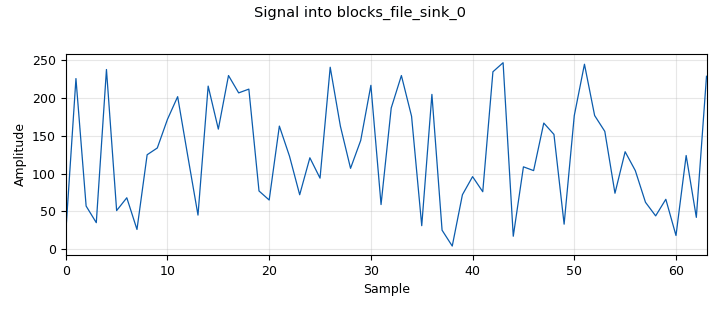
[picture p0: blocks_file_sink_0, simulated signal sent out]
<?xml version='1.0' encoding='utf-8'?>
<?grc format='1' created='3.7.11'?>
<flow_graph>
<block>
<key>options</key>
<param><key>id</key><value>top_block</value></param>
<param><key>generate_options</key><value>qt_gui</value></param>
</block>
<block>
<key>variable_constellation_rect</key>
<param><key>id</key><value>qpsk</value></param>
<param><key>const_points</key><value>[0.707+0.707j, -0.707+0.707j, -0.707-0.707j, 0.707-0.707j]</value></param>
<param><key>_enabled</key><value>0</value></param>
<param><key>imag_sect</key><value>2</value></param>
<param><key>real_sect</key><value>2</value></param>
<param><key>rot_sym</key><value>4</value></param>
<param><key>sym_map</key><value>[0, 1,2,3]</value></param>
<param><key>w_imag_sect</key><value>1</value></param>
<param><key>w_real_sect</key><value>1</value></param>
</block>
<block>
<key>variable</key>
<param><key>id</key><value>samp_rate</value></param>
<param><key>value</key><value>32000</value></param>
</block>
<block>
<key>analog_random_source_x</key>
<param><key>id</key><value>analog_random_source_x_0</value></param>
<param><key>max</key><value>256</value></param>
<param><key>min</key><value>0</value></param>
<param><key>num_samps</key><value>225</value></param>
<param><key>type</key><value>byte</value></param>
<param><key>repeat</key><value>False</value></param>
</block>
<block>
<key>blocks_file_sink</key>
<param><key>id</key><value>blocks_file_sink_0</value></param>
<param><key>file</key><value>/home/xongile/Lab-Project/TestSinks/TestData.dat</value></param>
<param><key>type</key><value>byte</value></param>
</block>
<block>
<key>blocks_file_sink</key>
<param><key>id</key><value>blocks_file_sink_0_0</value></param>
<param><key>_enabled</key><value>0</value></param>
<param><key>file</key><value>/home/xongile/Lab-Project/TestSinks/QPSKSymbols.dat</value></param>
<param><key>type</key><value>complex</value></param>
</block>
<block>
<key>blocks_file_sink</key>
<param><key>id</key><value>blocks_file_sink_0_0_0</value></param>
<param><key>_enabled</key><value>0</value></param>
<param><key>file</key><value>/home/xongile/Lab-Project/TestSinks/TestingREpack.dat</value></param>
<param><key>type</key><value>byte</value></param>
</block>
<block>
<key>blocks_file_sink</key>
<param><key>id</key><value>blocks_file_sink_0_1</value></param>
<param><key>_enabled</key><value>0</value></param>
<param><key>file</key><value>C:\Users\XongileN\GoogleDrive\2019\Semester2\ELEN40024012_lab_project\Lab-Project\TestSinks\TestData.dat</value></param>
<param><key>type</key><value>byte</value></param>
</block>
<block>
<key>blocks_repack_bits_bb</key>
<param><key>id</key><value>blocks_repack_bits_bb_0</value></param>
<param><key>k</key><value>8</value></param>
<param><key>l</key><value>qpsk.bits_per_symbol()</value></param>
<param><key>_enabled</key><value>0</value></param>
<param><key>endianness</key><value>gr.GR_LSB_FIRST</value></param>
</block>
<block>
<key>blocks_repack_bits_bb</key>
<param><key>id</key><value>blocks_repack_bits_bb_0_0</value></param>
<param><key>k</key><value>8</value></param>
<param><key>l</key><value>1</value></param>
<param><key>_enabled</key><value>0</value></param>
<param><key>endianness</key><value>gr.GR_MSB_FIRST</value></param>
</block>
<block>
<key>blocks_throttle</key>
<param><key>id</key><value>blocks_throttle_0</value></param>
<param><key>_enabled</key><value>0</value></param>
<param><key>samples_per_second</key><value>samp_rate</value></param>
<param><key>type</key><value>byte</value></param>
</block>
<block>
<key>blocks_vector_source_x</key>
<param><key>id</key><value>blocks_vector_source_x_0</value></param>
<param><key>_enabled</key><value>0</value></param>
<param><key>type</key><value>byte</value></param>
<param><key>repeat</key><value>False</value></param>
<param><key>vector</key><value>(27,27)</value></param>
</block>
<block>
<key>blocks_vector_source_x</key>
<param><key>id</key><value>blocks_vector_source_x_0_0</value></param>
<param><key>_enabled</key><value>0</value></param>
<param><key>type</key><value>byte</value></param>
<param><key>repeat</key><value>False</value></param>
<param><key>vector</key><value>(172,172)</value></param>
</block>
<block>
<key>digital_chunks_to_symbols_xx</key>
<param><key>id</key><value>digital_chunks_to_symbols_xx_0</value></param>
<param><key>dimension</key><value>1</value></param>
<param><key>_enabled</key><value>0</value></param>
<param><key>in_type</key><value>byte</value></param>
<param><key>out_type</key><value>complex</value></param>
<param><key>symbol_table</key><value>qpsk.points()</value></param>
</block>
<block>
<key>digital_map_bb</key>
<param><key>id</key><value>digital_map_bb_0</value></param>
<param><key>_enabled</key><value>0</value></param>
<param><key>map</key><value>qpsk.pre_diff_code()</value></param>
</block>
<connection><source_block_id>analog_random_source_x_0</source_block_id><sink_block_id>blocks_file_sink_0</sink_block_id><source_key>0</source_key><sink_key>0</sink_key></connection>
<connection><source_block_id>analog_random_source_x_0</source_block_id><sink_block_id>blocks_file_sink_0_1</sink_block_id><source_key>0</source_key><sink_key>0</sink_key></connection>
<connection><source_block_id>blocks_repack_bits_bb_0</source_block_id><sink_block_id>digital_map_bb_0</sink_block_id><source_key>0</source_key><sink_key>0</sink_key></connection>
<connection><source_block_id>blocks_repack_bits_bb_0_0</source_block_id><sink_block_id>blocks_file_sink_0_0_0</sink_block_id><source_key>0</source_key><sink_key>0</sink_key></connection>
<connection><source_block_id>blocks_throttle_0</source_block_id><sink_block_id>blocks_repack_bits_bb_0</sink_block_id><source_key>0</source_key><sink_key>0</sink_key></connection>
<connection><source_block_id>blocks_vector_source_x_0</source_block_id><sink_block_id>blocks_throttle_0</sink_block_id><source_key>0</source_key><sink_key>0</sink_key></connection>
<connection><source_block_id>blocks_vector_source_x_0_0</source_block_id><sink_block_id>blocks_repack_bits_bb_0_0</sink_block_id><source_key>0</source_key><sink_key>0</sink_key></connection>
<connection><source_block_id>digital_chunks_to_symbols_xx_0</source_block_id><sink_block_id>blocks_file_sink_0_0</sink_block_id><source_key>0</source_key><sink_key>0</sink_key></connection>
<connection><source_block_id>digital_map_bb_0</source_block_id><sink_block_id>digital_chunks_to_symbols_xx_0</sink_block_id><source_key>0</source_key><sink_key>0</sink_key></connection>
</flow_graph>
